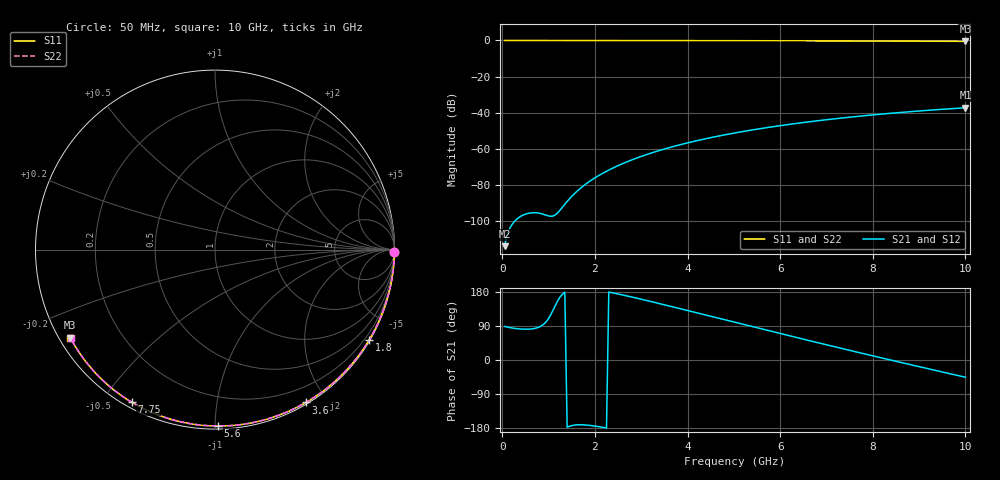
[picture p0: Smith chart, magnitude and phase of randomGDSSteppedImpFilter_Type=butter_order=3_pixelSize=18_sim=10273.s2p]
! freq	dB(S11)	phase(S11)	dB(S12)	phase(S12)
!  dB(S21)	phase(S21)	dB(S22)	phase(S22)
!S-par simulation data
#  GHz  S  DB  R 50
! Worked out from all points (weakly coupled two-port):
!   200 points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, 50 MHz to 10 GHz, reference 50 ohm
!   highest |S21| = -37.30 dB at 10 GHz (marker M1); lowest = -114.0 dB at 50 MHz (marker M2)
!   lowest |S11| = -0.5 dB at 10 GHz (marker M3), VSWR 34.58, Z = 1.56 - j14 ohm
!   |S11| at or under -10 dB: nowhere
!   |S22| runs from -0.5 to 0.0 dB; largest |S21 - S12| = 0
!   S11 on the Smith chart (normalised r, x): 50 MHz: open; 1.8 GHz: 0.03, -3.68; 3.6 GHz: 0.02, -1.76; 5.6 GHz: 0.02, -1.02; 7.75 GHz: 0.02, -0.59; 10 GHz: 0.03, -0.28
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0.05  -0.00 -0.9  -113.99 88.5  -113.99 88.5  -0.00 -0.9
0.45  -0.01 -7.7  -96.76 81.4  -96.76 81.4  -0.01 -7.7
0.9  -0.02 -15.3  -96.42 95.0  -96.42 95.0  -0.02 -15.3
1.3  -0.03 -22.1  -92.33 173.7  -92.33 173.7  -0.03 -22.0
1.75  -0.04 -29.6  -80.61 -171.1  -80.61 -171.1  -0.04 -29.5
1.8  -0.04 -30.4  -79.62 -171.5  -79.62 -171.5  -0.04 -30.4
1.95  -0.04 -32.9  -76.95 -173.5  -76.95 -173.5  -0.04 -32.8
2.1  -0.05 -35.3  -74.60 -176.2  -74.60 -176.2  -0.04 -35.3
2.3  -0.05 -38.6  -71.81 179.3  -71.81 179.3  -0.05 -38.5
2.5  -0.05 -41.8  -69.36 174.2  -69.36 174.2  -0.05 -41.8
2.9  -0.06 -48.3  -65.18 163.3  -65.18 163.3  -0.06 -48.2
3.4  -0.07 -56.2  -60.91 148.7  -60.91 148.7  -0.07 -56.1
3.6  -0.08 -59.3  -59.42 142.7  -59.42 142.7  -0.08 -59.2
4.3  -0.10 -70.0  -54.96 121.5  -54.96 121.5  -0.10 -69.9
5.05  -0.12 -81.1  -51.12 98.7  -51.12 98.7  -0.12 -81.0
5.6  -0.15 -89.0  -48.75 82.0  -48.75 82.0  -0.15 -89.0
6.15  -0.17 -96.8  -46.67 65.4  -46.67 65.4  -0.17 -96.7
6.7  -0.20 -104.4  -44.83 49.0  -44.83 49.0  -0.20 -104.3
7.75  -0.28 -118.7  -41.87 18.2  -41.87 18.2  -0.28 -118.5
8.35  -0.33 -126.7  -40.44 0.9  -40.44 0.9  -0.33 -126.5
9.2  -0.41 -137.9  -38.69 -23.2  -38.69 -23.2  -0.41 -137.8
10  -0.50 -148.6  -37.30 -45.4  -37.30 -45.4  -0.50 -148.5
